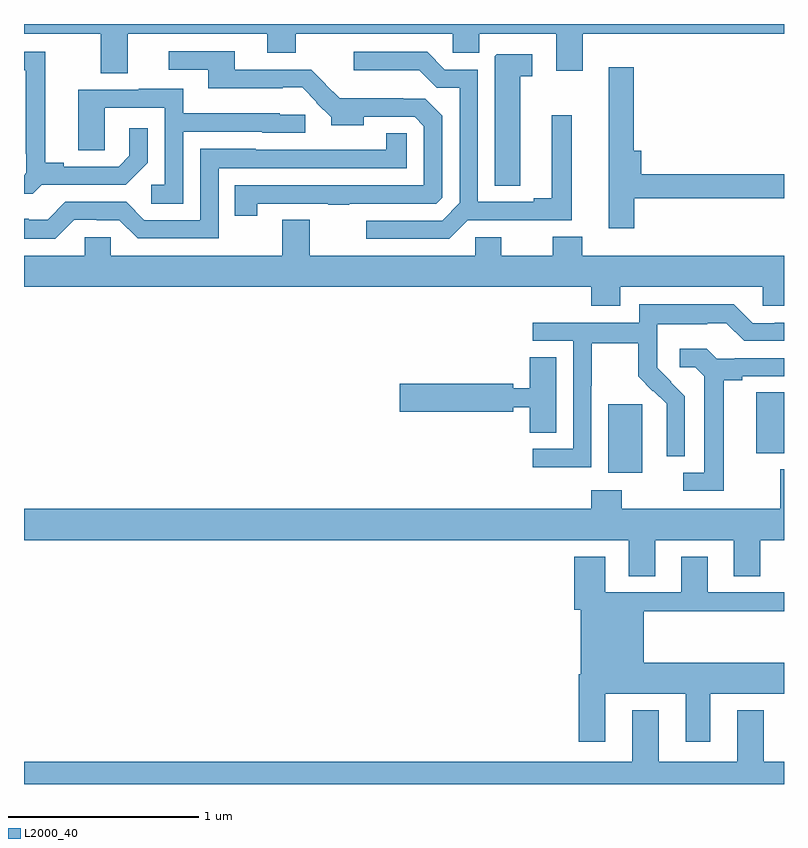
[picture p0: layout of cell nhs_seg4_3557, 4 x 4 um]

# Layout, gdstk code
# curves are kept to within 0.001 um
import gdstk
lib = gdstk.Library(unit=1e-6, precision=1e-09)
def R(c, l, rs):  # rectangles x0, y0, x1, y1
    for r in rs: c.add(gdstk.rectangle(r[:2], r[2:], *l))
def P(c, l, *ps):  # polygons
    for p in ps: c.add(gdstk.Polygon(p, *l))
L2000_40 = (2000, 40)

nhs_seg4_3557 = lib.new_cell('nhs_seg4_3557')
R(nhs_seg4_3557, L2000_40, [(302.075,766.538,302.254,766.899), (302.855,766.641,303,766.961)])
P(nhs_seg4_3557, L2000_40, [(299.545,768.848),(300.281,768.848),(300.281,768.749),(300.429,768.749),(300.429,768.848),(301.257,768.848),(301.257,768.75),(301.396,768.75),(301.396,768.848),(301.802,768.848),(301.802,768.654),(301.942,768.654),(301.942,768.848),(303,768.848),(303,768.9),(299,768.9),(299,768.848),(299.405,768.848),(299.405,768.64),(299.545,768.64)],
  [(300.228,767.955),(300.601,767.955),(300.601,767.95),(300.713,767.95),(300.713,767.955),(301.17,767.955),(301.2,767.985),(301.2,768.417),(301.111,768.506),(300.995,768.506),(300.995,768.508),(300.661,768.508),(300.587,768.581),(300.589,768.583),(300.513,768.66),(300.109,768.66),(300.109,768.756),(299.763,768.756),(299.763,768.66),(299.969,768.66),(299.969,768.563),(300.362,768.563),(300.362,768.566),(300.464,768.566),(300.54,768.489),(300.537,768.486),(300.616,768.408),(300.616,768.368),(300.787,768.368),(300.787,768.411),(301.056,768.411),(301.104,768.363),(301.104,768.051),(300.109,768.051),(300.109,767.892),(300.228,767.892)],
  [(299.094,768.054),(299.536,768.054),(299.652,768.17),(299.652,768.352),(299.555,768.352),(299.555,768.207),(299.498,768.15),(299.209,768.15),(299.209,768.17),(299.113,768.17),(299.113,768.753),(299,768.753),(299,768.657),(299.009,768.657),(299.009,768.217),(299.013,768.217),(299.013,768.117),(299,768.104),(299,768.007),(299.046,768.007)],
  [(301.336,767.868),(301.882,767.868),(301.882,768.421),(301.778,768.421),(301.778,767.984),(301.682,767.984),(301.682,767.964),(301.389,767.964),(301.389,768.66),(301.215,768.66),(301.122,768.753),(300.735,768.753),(300.735,768.656),(301.081,768.656),(301.172,768.565),(301.293,768.565),(301.293,767.958),(301.2,767.865),(300.801,767.865),(300.801,767.769),(301.237,767.769)],
  [(301.612,768.625),(301.675,768.625),(301.675,768.741),(301.488,768.741),(301.478,768.731),(301.478,768.049),(301.612,768.049)],
  [(302.213,767.982),(303,767.982),(303,768.11),(302.249,768.11),(302.249,768.232),(302.21,768.232),(302.21,768.673),(302.078,768.673),(302.078,767.826),(302.213,767.826)],
  [(299.838,768.333),(300.255,768.333),(300.255,768.327),(300.48,768.327),(300.48,768.423),(300.345,768.423),(300.345,768.43),(299.839,768.43),(299.839,768.559),(299.603,768.559),(299.603,768.555),(299.285,768.555),(299.285,768.235),(299.424,768.235),(299.424,768.459),(299.742,768.459),(299.742,768.054),(299.67,768.054),(299.67,767.953),(299.838,767.953)],
  [(299.265,767.871),(299.382,767.871),(299.382,767.868),(299.502,767.868),(299.598,767.772),(300.024,767.772),(300.024,768.141),(301.014,768.141),(301.014,768.326),(300.906,768.326),(300.906,768.238),(300.219,768.237),(300.219,768.244),(299.928,768.244),(299.928,767.868),(299.634,767.868),(299.538,767.964),(299.217,767.964),(299.124,767.871),(299.024,767.871),(299.024,767.875),(299,767.875),(299,767.771),(299.165,767.771)],
  [(302.137,767.516),(302.889,767.516),(302.889,767.418),(303,767.418),(303,767.68),(301.937,767.68),(301.937,767.779),(301.784,767.779),(301.784,767.68),(301.513,767.68),(301.513,767.778),(301.374,767.778),(301.374,767.68),(300.505,767.68),(300.505,767.87),(300.358,767.87),(300.358,767.68),(299.457,767.68),(299.457,767.778),(299.319,767.778),(299.319,767.68),(299,767.68),(299,767.516),(301.985,767.516),(301.985,767.417),(302.137,767.417)],
  [(301.986,766.996),(301.989,766.996),(301.989,767.22),(302.233,767.22),(302.233,767.045),(302.31,766.968),(302.313,766.971),(302.384,766.901),(302.384,766.778),(302.382,766.778),(302.382,766.624),(302.478,766.624),(302.478,766.942),(302.332,767.09),(302.332,767.187),(302.334,767.187),(302.334,767.321),(302.597,767.321),(302.597,767.325),(302.697,767.325),(302.79,767.232),(303,767.232),(303,767.328),(302.951,767.328),(302.951,767.325),(302.835,767.325),(302.735,767.425),(302.238,767.425),(302.238,767.328),(301.677,767.328),(301.677,767.232),(301.89,767.232),(301.89,766.665),(301.677,766.665),(301.677,766.567),(301.986,766.567)],
  [(302.683,767.024),(302.779,767.024),(302.779,767.046),(303,767.046),(303,767.142),(302.74,767.142),(302.74,767.139),(302.646,767.139),(302.594,767.191),(302.451,767.191),(302.451,767.094),(302.532,767.094),(302.579,767.047),(302.579,766.539),(302.469,766.539),(302.469,766.443),(302.683,766.443)],
  [(301.801,767.147),(301.663,767.147),(301.663,766.983),(301.574,766.983),(301.574,767.006),(300.978,767.006),(300.978,766.859),(301.574,766.859),(301.574,766.883),(301.663,766.883),(301.663,766.75),(301.801,766.75)],
  [(302.323,766.184),(302.735,766.184),(302.735,765.994),(302.875,765.994),(302.875,766.184),(303,766.184),(303,766.556),(302.981,766.556),(302.981,766.348),(302.145,766.348),(302.145,766.447),(301.985,766.447),(301.985,766.348),(299,766.348),(299,766.184),(302.183,766.184),(302.183,765.994),(302.323,765.994)],
  [(302.059,765.374),(302.483,765.374),(302.483,765.123),(302.611,765.123),(302.611,765.374),(303,765.374),(303,765.538),(302.263,765.538),(302.263,765.808),(303,765.808),(303,765.909),(302.599,765.909),(302.599,766.096),(302.459,766.096),(302.459,765.909),(302.059,765.909),(302.059,766.096),(301.895,766.096),(301.895,765.816),(301.931,765.816),(301.931,765.478),(301.919,765.478),(301.919,765.123),(302.059,765.123)],
  [(303,765.016),(302.893,765.016),(302.893,765.289),(302.753,765.289),(302.753,765.016),(302.341,765.016),(302.341,765.289),(302.201,765.289),(302.201,765.016),(299,765.016),(299,764.9),(303,764.9)])

lib.write_gds('nhs_seg4_3557.gds')
